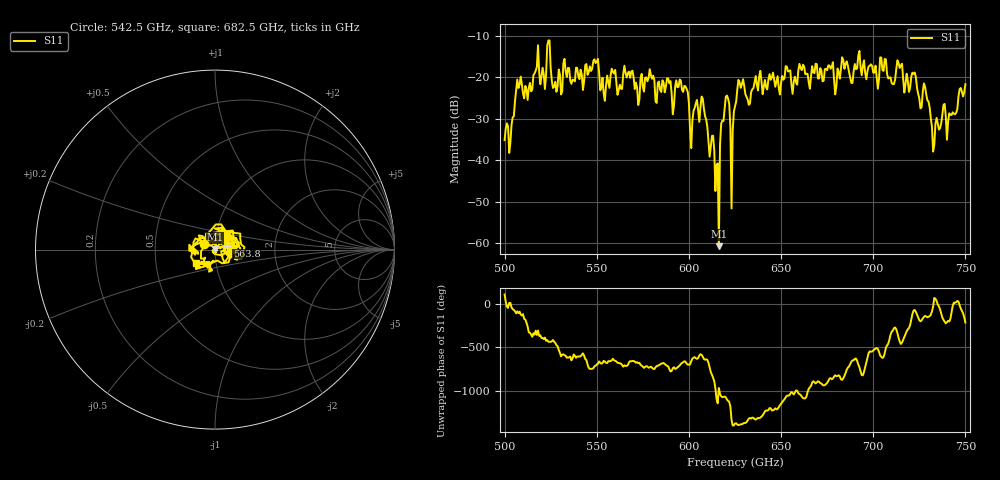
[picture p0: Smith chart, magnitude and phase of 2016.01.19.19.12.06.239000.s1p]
!Created with skrf (http://scikit-rf.org).
# GHz S RI R 50.0
!freq ReS11 ImS11
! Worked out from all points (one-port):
!   401 points, 500 GHz to 750 GHz, reference 50 ohm
!   lowest |S11| = -60.7 dB at 616.2 GHz (marker M1), VSWR 1.00, Z = 50 + j0.0819 ohm
!   |S11| at or under -10 dB: start of sweep to end of sweep
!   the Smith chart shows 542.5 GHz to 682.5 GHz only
!   S11 on the Smith chart (normalised r, x): 542.5 GHz: 0.88, +0.06; 563.8 GHz: 1.15, +0.05; 682.5 GHz: 0.80, -0.12
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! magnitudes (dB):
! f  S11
! 500 GHz  -35.1
! 503.8 GHz  -31.5
! 507.5 GHz  -22.6
! 513.8 GHz  -21.3
! 516.9 GHz  -18.4
! 531.2 GHz  -23.4
! 542.5 GHz  -23.1
! 549.4 GHz  -16.6
! 553.1 GHz  -20.1
! 562.5 GHz  -21.8
! 563.8 GHz  -22.8
! 593.8 GHz  -22.4
! 601.9 GHz  -30.4
! 607.5 GHz  -25.1
! 615 GHz  -41.1
! 616.2 GHz  -60.7
! 620 GHz  -24.7
! 623.1 GHz  -51.6
! 625 GHz  -27.0
! 628.1 GHz  -22.5
! 656.2 GHz  -24.0
! 682.5 GHz  -17.9
! 687.5 GHz  -20.1
! 714.4 GHz  -17.7
! 718.8 GHz  -20.8
! 728.8 GHz  -24.1
! 732.5 GHz  -37.9
! 750 GHz  -21.7
